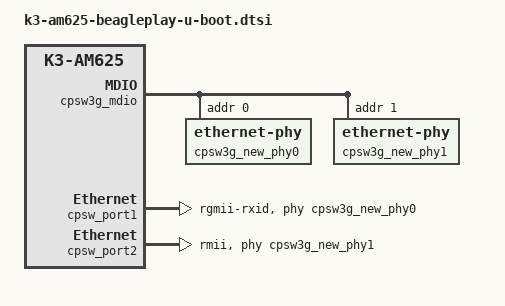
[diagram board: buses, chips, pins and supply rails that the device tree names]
// SPDX-License-Identifier: GPL-2.0
/*
 * https://beagleboard.org/play
 *
 * Copyright (C) 2022-2023 Texas Instruments Incorporated - https://www.ti.com/
 * Copyright (C) 2022-2023 Robert Nelson, BeagleBoard.org Foundation
 */

#include "k3-am625-sk-binman.dtsi"

/ {
	chosen {
		tick-timer = &main_timer0;
	};

	memory@80000000 {
		bootph-pre-ram;
	};
};

&cbass_main {
	bootph-pre-ram;
};

&main_timer0 {
	clock-frequency = <25000000>;
	bootph-pre-ram;
};

&dmss {
	bootph-pre-ram;
};

&secure_proxy_main {
	bootph-pre-ram;
};

&dmsc {
	bootph-pre-ram;
};

&k3_pds {
	bootph-pre-ram;
};

&k3_clks {
	bootph-pre-ram;
};

&k3_reset {
	bootph-pre-ram;
};

&dmsc {
	bootph-pre-ram;
	k3_sysreset: sysreset-controller {
		compatible = "ti,sci-sysreset";
		bootph-pre-ram;
	};
};

&wkup_conf {
	bootph-pre-ram;
};

&chipid {
	bootph-pre-ram;
};

&main_pmx0 {
	bootph-pre-ram;
};

&main_uart0 {
	bootph-pre-ram;
};

&console_pins_default {
	bootph-pre-ram;
};

&cbass_mcu {
	bootph-pre-ram;
};

&cbass_wakeup {
	bootph-pre-ram;
};

&mcu_pmx0 {
	bootph-pre-ram;
};


&main_i2c0 {
	bootph-pre-ram;
};

&local_i2c_pins_default {
	bootph-pre-ram;
};

&gpio0_pins_default {
	bootph-pre-ram;
};

&main_gpio0 {
	bootph-pre-ram;
};

&main_gpio1 {
	bootph-pre-ram;
};

&sdhci0 {
	/* EMMC */
	bootph-pre-ram;
};

&emmc_pins_default {
	bootph-pre-ram;
};

&sd_pins_default {
	bootph-pre-ram;
	/* Force to use SDCD card detect pin */
	pinctrl-single,pins = <
		AM62X_IOPAD(0x023c, PIN_INPUT, 0) /* (A21) MMC1_CMD */
		AM62X_IOPAD(0x0234, PIN_INPUT, 0) /* (B22) MMC1_CLK */
		AM62X_IOPAD(0x0230, PIN_INPUT, 0) /* (A22) MMC1_DAT0 */
		AM62X_IOPAD(0x022c, PIN_INPUT, 0) /* (B21) MMC1_DAT1 */
		AM62X_IOPAD(0x0228, PIN_INPUT, 0) /* (C21) MMC1_DAT2 */
		AM62X_IOPAD(0x0224, PIN_INPUT, 0) /* (D22) MMC1_DAT3 */
		AM62X_IOPAD(0x0240, PIN_INPUT, 0) /* (D17) MMC1_SDCD.MMC1_SDCD */
	>;
};

&sdhci1 {
	bootph-pre-ram;
	/* Slow Down SD Card for maximum support */
	sdhci-caps-mask = <0x00000007 0x00000000>;
	/*
	 * Linux uses gpio for card detect as this allows runtime PM
	 * to function, but, u-boot controller support is pending
	 */
	/delete-property/ cd-gpios;
	/delete-property/ cd-debounce-delay-ms;
	/delete-property/ ti,fails-without-test-cd;
};

&cpsw3g {
	bootph-pre-ram;
};

/* HACK:  We'll use cpsw-mdio instead */
&mdio0 {
	status = "disabled";
};

&mdio0_pins_default {
	pinctrl-single,pins = <
		AM62X_IOPAD(0x0160, PIN_OUTPUT, 0) /* (AD24) MDIO0_MDC */
		AM62X_IOPAD(0x015c, PIN_INPUT, 0) /* (AB22) MDIO0_MDIO */
	>;
};

&cpsw3g_mdio {
	status = "okay";
	pinctrl-names = "default";
	pinctrl-0 = <&mdio0_pins_default>;
	bootph-pre-ram;

	cpsw3g_new_phy0: ethernet-phy@0 {
	     reg = <0>;
	};

	cpsw3g_new_phy1: ethernet-phy@1 {
	     reg = <1>;
	};
};

&cpsw_port1 {
        phy-mode = "rgmii-rxid";
        phy-handle = <&cpsw3g_new_phy0>;
};

&cpsw_port2 {
        phy-mode = "rmii";
        phy-handle = <&cpsw3g_new_phy1>;
};

#ifdef CONFIG_TARGET_AM625_A53_EVM

#define SPL_AM625_BEAGLEPLAY_DTB "spl/dts/k3-am625-beagleplay.dtb"
#define AM625_BEAGLEPLAY_DTB "arch/arm/dts/k3-am625-beagleplay.dtb"

&spl_am625_sk_dtb {
	filename = SPL_AM625_BEAGLEPLAY_DTB;
};

&am625_sk_dtb {
	filename = AM625_BEAGLEPLAY_DTB;
};

&spl_am625_sk_dtb_unsigned {
	filename = SPL_AM625_BEAGLEPLAY_DTB;
};

&am625_sk_dtb_unsigned {
	filename = AM625_BEAGLEPLAY_DTB;
};

#endif
